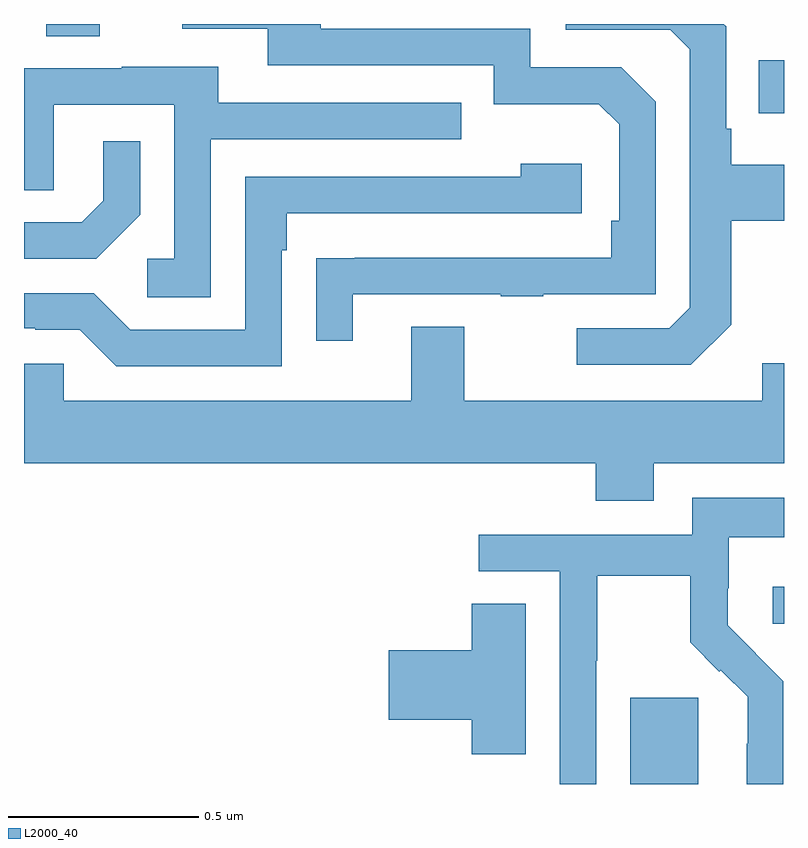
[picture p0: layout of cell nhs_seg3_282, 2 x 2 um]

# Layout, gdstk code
import gdstk
lib = gdstk.Library(unit=1e-6, precision=1e-09)
def R(c, l, rs):  # rectangles x0, y0, x1, y1
    for r in rs: c.add(gdstk.rectangle(r[:2], r[2:], *l))
def P(c, l, *ps):  # polygons
    for p in ps: c.add(gdstk.Polygon(p, *l))
L2000_40 = (2000, 40)

nhs_seg3_282 = lib.new_cell('nhs_seg3_282')
R(nhs_seg3_282, L2000_40, [(115.595,705.4,115.774,705.627), (115.971,705.822,116,705.919), (115.933,707.165,116,707.305), (114.059,707.368,114.199,707.4)])
P(nhs_seg3_282, L2000_40, [(114.865,706.689),(115.255,706.689),(115.255,706.684),(115.367,706.684),(115.367,706.689),(115.662,706.689),(115.662,707.196),(115.572,707.286),(115.332,707.286),(115.332,707.388),(114.781,707.388),(114.781,707.4),(114.417,707.4),(114.417,707.388),(114.641,707.388),(114.641,707.292),(115.236,707.292),(115.236,707.189),(115.513,707.189),(115.566,707.136),(115.566,706.882),(115.546,706.882),(115.546,706.785),(114.871,706.785),(114.871,706.784),(114.769,706.784),(114.769,706.566),(114.865,706.566)],
  [(115.861,706.609),(115.861,706.882),(116,706.882),(116,707.029),(115.861,707.029),(115.861,707.125),(115.848,707.125),(115.848,707.394),(115.842,707.4),(115.425,707.4),(115.425,707.385),(115.701,707.385),(115.752,707.334),(115.752,706.653),(115.698,706.599),(115.455,706.599),(115.455,706.503),(115.755,706.503)],
  [(114.492,707.097),(115.151,707.097),(115.151,707.193),(114.511,707.193),(114.511,707.287),(114.257,707.287),(114.257,707.283),(114,707.283),(114,706.963),(114.078,706.963),(114.078,707.187),(114.396,707.187),(114.396,706.782),(114.324,706.782),(114.324,706.681),(114.492,706.681)],
  [(114.306,706.898),(114.306,707.092),(114.209,707.092),(114.209,706.935),(114.152,706.878),(114,706.878),(114,706.782),(114.19,706.782)],
  [(114.678,706.805),(114.691,706.805),(114.691,706.902),(115.468,706.902),(115.468,707.032),(115.307,707.032),(115.307,706.998),(114.582,706.998),(114.582,706.596),(114.279,706.596),(114.183,706.692),(114,706.692),(114,706.599),(114.029,706.599),(114.029,706.596),(114.147,706.596),(114.243,706.5),(114.678,706.5)],
  [(115.657,706.244),(116,706.244),(116,706.507),(115.943,706.507),(115.943,706.408),(115.159,706.408),(115.159,706.603),(115.019,706.603),(115.019,706.408),(114.105,706.408),(114.105,706.506),(114,706.506),(114,706.244),(115.505,706.244),(115.505,706.145),(115.657,706.145)],
  [(115.506,705.724),(115.509,705.724),(115.509,705.948),(115.753,705.948),(115.753,705.773),(115.83,705.696),(115.833,705.699),(115.904,705.629),(115.904,705.506),(115.902,705.506),(115.902,705.4),(115.998,705.4),(115.998,705.67),(115.925,705.743),(115.926,705.744),(115.852,705.818),(115.852,705.915),(115.854,705.915),(115.854,706.049),(116,706.049),(116,706.153),(115.758,706.153),(115.758,706.056),(115.197,706.056),(115.197,705.96),(115.41,705.96),(115.41,705.4),(115.506,705.4)],
  [(115.321,705.875),(115.178,705.875),(115.178,705.752),(114.96,705.752),(114.96,705.569),(115.178,705.569),(115.178,705.478),(115.321,705.478)])

lib.write_gds('nhs_seg3_282.gds')
